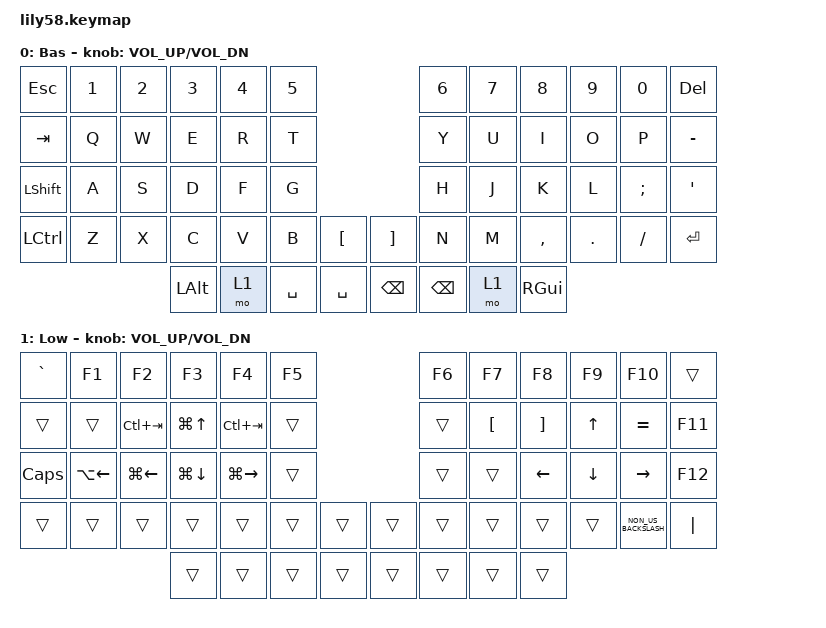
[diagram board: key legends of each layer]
/*
 * Copyright (c) 2020 The ZMK Contributors
 *
 * SPDX-License-Identifier: MIT
 */

#include <behaviors.dtsi>
#include <dt-bindings/zmk/keys.h>

/ {
  combos {
      compatible = "zmk,combos";
      
      polisha {
          timeout-ms = <200>;
          bindings = <&kp RA(A)>;
          key-positions = <34 25>;
      };
              n {
	    timeout-ms = <200>;
            bindings = <&kp RA(N)>;
            key-positions = <34 44>;
        };

      z {
          timeout-ms = <200>;
          bindings = <&kp RA(Z)>;
          key-positions = <34 37>;
      };
        s {
            bindings = <&kp RA(S)>;
            key-positions = <34 26>;
            timeout-ms = <200>;
        };

      x {
          timeout-ms = <200>;
          bindings = <&kp RA(X)>;
          key-positions = <34 38>;
      };

      polishe {
          timeout-ms = <200>;
          bindings = <&kp RA(E)>;
          key-positions = <34 15>;
      };

      c {
          timeout-ms = <200>;
          bindings = <&kp RA(C)>;
          key-positions = <34 39>;
      };

      o {
          timeout-ms = <200>;
          bindings = <&kp RA(O)>;
          key-positions = <34 21>;
      };

      l {
          timeout-ms = <200>;
          bindings = <&kp RA(L)>;
          key-positions = <34 33>;
      };
    };

    keymap {
        compatible = "zmk,keymap";

        default_layer {
            // ------------------------------------------------------------------------------------------------------------
            // |  ESC  |  1  |  2  |  3   |  4   |  5   |                   |  6   |  7    |  8    |  9   |   0   |   DEL   |
            // |  TAB  |  Q  |  W  |  E   |  R   |  T   |                   |  Y   |  U    |  I    |  O   |   P   |   -   |
            // |  SHIFT |  A  |  S  |  D   |  F   |  G   |                   |  H   |  J    |  K    |  L   |   ;   |   '   |
            // | CTRL |  Z  |  X  |  C   |  V   |  B   |   "["  |  |  "]"  |  N   |  M    |  ,    |  .   |   /   | ENTER |
            //                     | ALT  | layer change   | SPACE|  SPACE |  | BSPC | BSPC| layer change  | GUI   |

            display-name = "Bas";
            bindings = <
&kp ESC    &kp N1  &kp N2  &kp N3    &kp N4  &kp N5                            &kp N6         &kp N7  &kp N8     &kp N9   &kp N0    &kp DEL
&kp TAB    &kp Q   &kp W   &kp E     &kp R   &kp T                             &kp Y          &kp U   &kp I      &kp O    &kp P     &kp MINUS
&kp LSHFT  &kp A   &kp S   &kp D     &kp F   &kp G                             &kp H          &kp J   &kp K      &kp L    &kp SEMI  &kp SQT
&kp LCTRL  &kp Z   &kp X   &kp C     &kp V   &kp B      &kp LBKT     &kp RBKT  &kp N          &kp M   &kp COMMA  &kp DOT  &kp FSLH  &kp ENTER
                           &kp LALT  &mo 1   &kp SPACE  &kp SPACE    &kp BSPC  &kp BACKSPACE  &mo 1   &kp RGUI
            >;

            sensor-bindings = <&inc_dec_kp C_VOL_UP C_VOL_DN>;
        };

        lower_layer {
            // ------------------------------------------------------------------------------------------------------------
            // | BTCLR | BT1 | BT2 |  BT3 |  BT4 |  BT5 |                   |      |       |       |      |       |       |
            // |  F1   |  F2 |  F3 |  F4  |  F5  |  F6  |                   |  F7  |  F8   |  F9   |  F10 |  F11  |  F12  |
            // |   `   |  !  |  @  |  #   |  $   |  %   |                   |  ^   |  &    |  *    |  (   |   )   |   ~   |
            // |       |     |     |      |      |      |        |  |       |      |  _    |  +    |  {   |   }   |  "|"  |
            //                     |      |      |      |        |  |       |      |       |       |

            display-name = "Low";
            bindings = <
&kp GRAVE  &kp F1        &kp F2        &kp F3              &kp F4         &kp F5                    &kp F6  &kp F7            &kp F8             &kp F9        &kp F10               &trans
&trans     &trans        &kp LC(TAB)   &kp LG(UP_ARROW)    &kp LC(TAB)    &trans                    &trans  &kp LEFT_BRACKET  &kp RIGHT_BRACKET  &kp UP_ARROW  &kp EQUAL             &kp F11
&kp CLCK   &kp LA(LEFT)  &kp LG(LEFT)  &kp LG(DOWN_ARROW)  &kp LG(RIGHT)  &trans                    &trans  &trans            &kp LEFT           &kp DOWN      &kp RIGHT             &kp F12
&trans     &trans        &trans        &trans              &trans         &trans  &trans    &trans  &trans  &trans            &trans             &trans        &kp NON_US_BACKSLASH  &kp PIPE
                                       &trans              &trans         &trans  &trans    &trans  &trans  &trans            &trans
            >;

            sensor-bindings = <&inc_dec_kp C_VOL_UP C_VOL_DN>;
        };
    };
};

